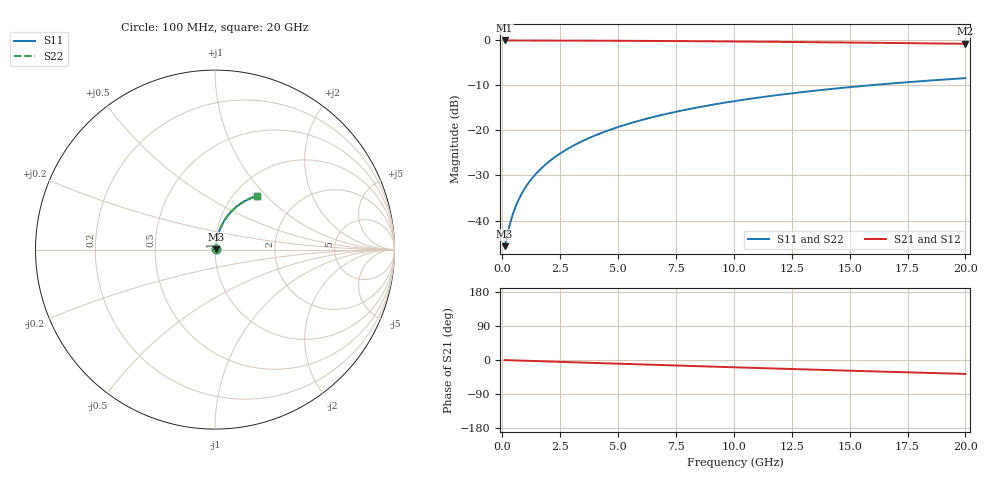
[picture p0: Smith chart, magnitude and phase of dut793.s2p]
! Touchstone file exported from HFSS 2026.1.0
!  File:  C:/ffzhzh/LocalFiles/Ansys_Project_Files/temp_train_BSMRDL_793_1783169578_22436.aedt
!  Generated:  08:54:20 PM Jul  4, 2026
!  Design:  BSMRDL
!  Project:  temp_train_BSMRDL_793_1783169578_22436
! Variables:
!  h_bsmrdl = 2.13um
!  h_ox = 20um
!  h_rdl = 5um
!  h_sub = 80um
!  h_tmrdl = 5um
!  h_tsv = 80um
!  h_via = 3um
!  l_bsmrdl = 491.31um
!  l_sub = 891.31um
!  l_tmrdl = 200um
!  m_sub = 200um
!  pitch = 46.55um
!  r_tsv = 6um
!  s_tmrdl = 10um
!  w_bsmrdl = 18.88um
!  w_sub = 500um
!  w_tmrdl = 12um
!  x_tsv_center1 = 206um
!  x_tsv_center2 = 716.19um
!  x_tsv_center3 = 928.19um
!  x_tsv_center4 = 1438.38um
!  x_tsv_center5 = 1650.38um
!  x_tsv_center6 = 2160.57um
# GHz S MA R 50.000000
! Terminal data exported
! Port[1] = BSM_RDL1_1_T1
! Port[2] = BSM_RDL1_1_T2
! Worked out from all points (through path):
!   200 points, 100 MHz to 20 GHz, reference 50 ohm
!   highest |S21| = -0.04 dB at 100 MHz (marker M1); lowest = -0.8 dB at 20 GHz (marker M2)
!   group delay of S21, straight-line fit = 5.11 ps
!   lowest |S11| = -45.7 dB at 100 MHz (marker M3), VSWR 1.01, Z = 50.5 + j0.239 ohm
!   |S11| at or under -10 dB: start of sweep to 15.86 GHz
!   |S22| runs from -45.7 to -8.4 dB; largest |S21 - S12| = 2.1e-15
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0.1  0.005191 27.2  0.9954 -0.2  0.9954 -0.2  0.005191 27.2
! Gamma 0 0 0 0
! Port Impedance 50 0 50 0
0.3  0.008554 55.4  0.9952 -0.6  0.9952 -0.6  0.008554 55.4
0.4  0.01059 61.6  0.995 -0.8  0.995 -0.8  0.01059 61.6
0.5  0.01269 65.6  0.9949 -1.0  0.9949 -1.0  0.01269 65.6
0.6  0.01481 68.4  0.9947 -1.2  0.9947 -1.2  0.01481 68.4
0.7  0.01694 70.5  0.9946 -1.4  0.9946 -1.4  0.01694 70.5
0.9  0.02119 73.3  0.9943 -1.8  0.9943 -1.8  0.02119 73.3
1.2  0.02757 75.8  0.994 -2.4  0.994 -2.4  0.02757 75.8
1.4  0.03184 76.8  0.9938 -2.8  0.9938 -2.8  0.03184 76.8
1.7  0.03826 77.8  0.9934 -3.4  0.9934 -3.4  0.03826 77.8
2.2  0.04899 78.6  0.9928 -4.3  0.9928 -4.3  0.04899 78.6
2.8  0.06189 78.8  0.992 -5.5  0.992 -5.5  0.06189 78.8
3.5  0.07693 78.5  0.9908 -6.9  0.9908 -6.9  0.07693 78.5
4.2  0.09191 77.8  0.9894 -8.2  0.9894 -8.2  0.09191 77.8
5  0.1089 76.8  0.9875 -9.8  0.9875 -9.8  0.1089 76.8
5.9  0.1279 75.5  0.9851 -11.5  0.9851 -11.5  0.1279 75.5
6.8  0.1466 74.1  0.9823 -13.2  0.9823 -13.2  0.1466 74.1
8.3  0.1772 71.6  0.9769 -16.1  0.9769 -16.1  0.1772 71.6
10.1  0.2127 68.5  0.9693 -19.4  0.9693 -19.4  0.2127 68.5
13.4  0.2741 62.7  0.953 -25.4  0.953 -25.4  0.2741 62.7
16.7  0.33 57.1  0.9344 -31.2  0.9344 -31.2  0.33 57.1
20  0.3802 51.7  0.9146 -36.7  0.9146 -36.7  0.3802 51.7
